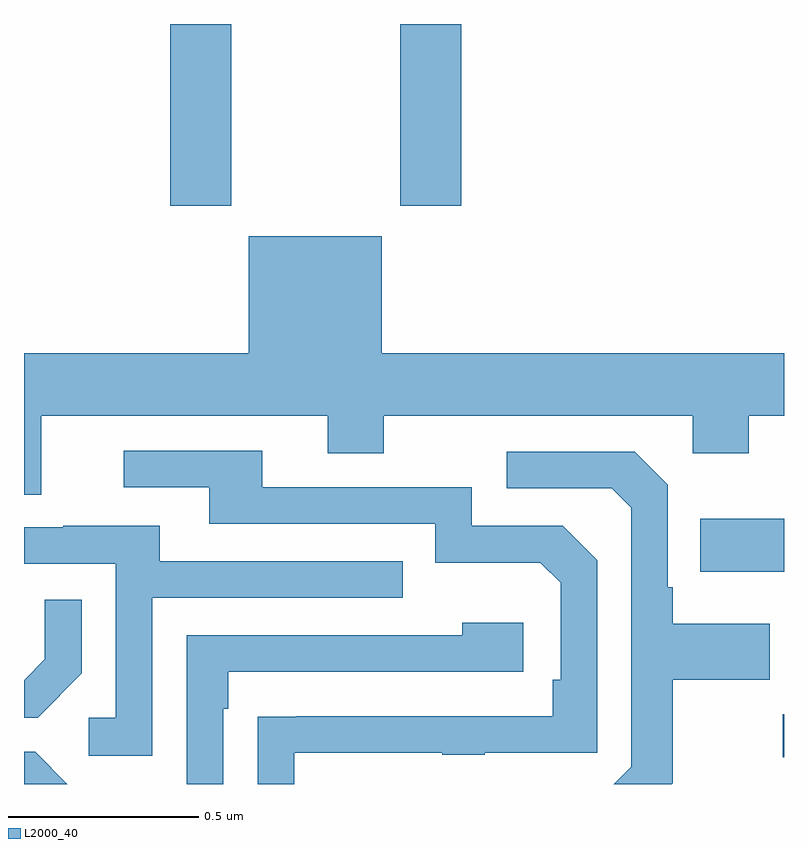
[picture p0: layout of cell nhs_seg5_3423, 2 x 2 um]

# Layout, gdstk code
import gdstk
lib = gdstk.Library(unit=1e-6, precision=1e-09)
def R(c, l, rs):  # rectangles x0, y0, x1, y1
    for r in rs: c.add(gdstk.rectangle(r[:2], r[2:], *l))
def P(c, l, *ps):  # polygons
    for p in ps: c.add(gdstk.Polygon(p, *l))
L2000_40 = (2000, 40)

nhs_seg5_3423 = lib.new_cell('nhs_seg5_3423')
R(nhs_seg5_3423, L2000_40, [(158.997,847.869,159,847.982), (158.779,848.357,159,848.497), (157.385,849.321,157.545,849.799), (157.99,849.321,158.15,849.799)])
P(nhs_seg5_3423, L2000_40, [(157.045,848.768),(157.799,848.768),(157.799,848.669),(157.947,848.669),(157.947,848.768),(158.76,848.768),(158.76,848.669),(158.907,848.669),(158.907,848.768),(159,848.768),(159,848.932),(157.942,848.932),(157.942,849.241),(157.592,849.241),(157.592,848.932),(157,848.932),(157,848.56),(157.045,848.56)],
  [(157.711,847.881),(158.101,847.881),(158.101,847.876),(158.213,847.876),(158.213,847.881),(158.508,847.881),(158.508,848.388),(158.418,848.478),(158.178,848.478),(158.178,848.58),(157.627,848.58),(157.627,848.676),(157.263,848.676),(157.263,848.58),(157.487,848.58),(157.487,848.484),(158.082,848.484),(158.082,848.381),(158.359,848.381),(158.412,848.328),(158.412,848.074),(158.392,848.074),(158.392,847.977),(157.717,847.977),(157.717,847.976),(157.615,847.976),(157.615,847.799),(157.711,847.799)],
  [(158.707,847.801),(158.707,848.074),(158.963,848.074),(158.963,848.221),(158.707,848.221),(158.707,848.317),(158.694,848.317),(158.694,848.586),(158.607,848.673),(158.271,848.673),(158.271,848.577),(158.547,848.577),(158.598,848.526),(158.598,847.845),(158.552,847.799),(158.705,847.799)],
  [(157.338,848.289),(157.997,848.289),(157.997,848.385),(157.357,848.385),(157.357,848.479),(157.103,848.479),(157.103,848.475),(157,848.475),(157,848.379),(157.242,848.379),(157.242,847.974),(157.17,847.974),(157.17,847.873),(157.338,847.873)],
  [(157.152,848.09),(157.152,848.284),(157.055,848.284),(157.055,848.127),(157,848.072),(157,847.974),(157.036,847.974)],
  [(157.524,847.997),(157.537,847.997),(157.537,848.094),(158.314,848.094),(158.314,848.224),(158.153,848.224),(158.153,848.19),(157.428,848.19),(157.428,847.799),(157.524,847.799)],
  [(157.029,847.884),(157,847.884),(157,847.799),(157.114,847.799)])

lib.write_gds('nhs_seg5_3423.gds')
